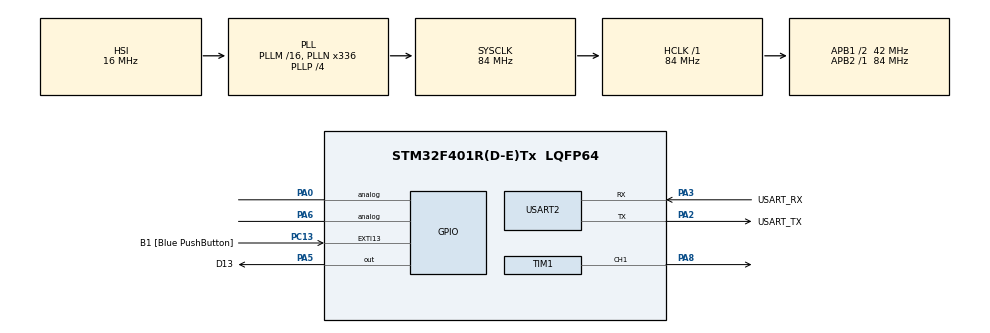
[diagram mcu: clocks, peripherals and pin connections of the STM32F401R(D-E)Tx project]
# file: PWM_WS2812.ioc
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Dma.Request0=TIM1_CH1
Dma.TIM1_CH1.0.Direction=DMA_MEMORY_TO_PERIPH
Dma.TIM1_CH1.0.FIFOMode=DMA_FIFOMODE_DISABLE
Dma.TIM1_CH1.0.Instance=DMA2_Stream1
Dma.TIM1_CH1.0.MemDataAlignment=DMA_MDATAALIGN_HALFWORD
Dma.TIM1_CH1.0.MemInc=DMA_MINC_ENABLE
Dma.TIM1_CH1.0.Mode=DMA_NORMAL
Dma.TIM1_CH1.0.PeriphDataAlignment=DMA_PDATAALIGN_HALFWORD
Dma.TIM1_CH1.0.PeriphInc=DMA_PINC_DISABLE
Dma.TIM1_CH1.0.Priority=DMA_PRIORITY_LOW
Mcu.Family=STM32F4
Mcu.Name=STM32F401R(D-E)Tx
Mcu.Package=LQFP64
NVIC.DMA2_Stream1_IRQn=true\:0\:0\:false\:false\:true\:false\:true\:true
NVIC.PriorityGroup=NVIC_PRIORITYGROUP_0
NVIC.TIM1_TRG_COM_TIM11_IRQn=true\:0\:0\:false\:false\:true\:false\:true\:true
NVIC.TimeBase=TIM1_TRG_COM_TIM11_IRQn
NVIC.TimeBaseIP=TIM11
PA0-WKUP.Signal=GPIO_Analog
PA13.GPIO_Label=TMS
PA13.Mode=Serial_Wire
PA13.Signal=SYS_JTMS-SWDIO
PA14.GPIO_Label=TCK
PA14.Mode=Serial_Wire
PA14.Signal=SYS_JTCK-SWCLK
PA2.GPIO_Label=USART_TX
PA2.GPIO_Mode=GPIO_MODE_AF_PP
PA2.GPIO_PuPd=GPIO_NOPULL
PA2.GPIO_Speed=GPIO_SPEED_FREQ_LOW
PA2.Mode=Asynchronous
PA2.Signal=USART2_TX
PA3.GPIO_Label=USART_RX
PA3.GPIO_Mode=GPIO_MODE_AF_PP
PA3.GPIO_PuPd=GPIO_NOPULL
PA3.GPIO_Speed=GPIO_SPEED_FREQ_LOW
PA3.Mode=Asynchronous
PA3.Signal=USART2_RX
PA5.GPIO_Label=D13
PA5.Signal=GPIO_Output
PA6.Signal=GPIO_Analog
PA8.Signal=S_TIM1_CH1
PB3.GPIO_Label=SWO
PB3.Signal=SYS_JTDO-SWO
PC13-ANTI_TAMP.GPIO_Label=B1 [Blue PushButton]
PC13-ANTI_TAMP.GPIO_ModeDefaultEXTI=GPIO_MODE_IT_FALLING
PC13-ANTI_TAMP.GPIO_PuPd=GPIO_NOPULL
PC13-ANTI_TAMP.Signal=GPXTI13
PC14-OSC32_IN.Mode=LSE-External-Oscillator
PC14-OSC32_IN.Signal=RCC_OSC32_IN
PC15-OSC32_OUT.Mode=LSE-External-Oscillator
PC15-OSC32_OUT.Signal=RCC_OSC32_OUT
PH0\ -\ OSC_IN.Mode=HSE-External-Clock-Source
PH0\ -\ OSC_IN.Signal=RCC_OSC_IN
PH1\ -\ OSC_OUT.Mode=HSE-External-Clock-Source
PH1\ -\ OSC_OUT.Signal=RCC_OSC_OUT
ProjectManager.HeapSize=0x200
ProjectManager.StackSize=0x400
ProjectManager.TargetToolchain=STM32CubeIDE
RCC.48MHZClocksFreq_Value=48000000
RCC.AHBFreq_Value=84000000
RCC.APB1CLKDivider=RCC_HCLK_DIV2
RCC.APB1Freq_Value=42000000
RCC.APB1TimFreq_Value=84000000
RCC.APB2Freq_Value=84000000
RCC.APB2TimFreq_Value=84000000
RCC.CortexFreq_Value=84000000
RCC.HCLKFreq_Value=84000000
RCC.HSE_VALUE=8000000
RCC.HSI_VALUE=16000000
RCC.PLLN=336
RCC.PLLP=RCC_PLLP_DIV4
RCC.PLLQ=7
RCC.SYSCLKFreq_VALUE=84000000
RCC.SYSCLKSource=RCC_SYSCLKSOURCE_PLLCLK
RCC.VCOOutputFreq_Value=336000000
SH.S_TIM1_CH1.0=TIM1_CH1,PWM Generation1 CH1
TIM1.Channel-PWM\ Generation1\ CH1=TIM_CHANNEL_1
TIM1.OC1Preload_PWM=ENABLE
TIM1.OCFastMode_PWM-PWM\ Generation1\ CH1=TIM_OCFAST_DISABLE
TIM1.OCPolarity_1=TIM_OCPOLARITY_HIGH
TIM1.Period=105-1
TIM1.Pulse-PWM\ Generation1\ CH1=0
USART2.VirtualMode=VM_ASYNC
VP_SYS_VS_tim11.Mode=TIM11
VP_TIM1_VS_ClockSourceINT.Mode=Internal
board=NUCLEO-F401RE

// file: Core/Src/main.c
/* USER CODE BEGIN Header */
/**
  ******************************************************************************
  * @file           : main.c
  * @brief          : Main program body
  ******************************************************************************
  * @attention
  *
  * Copyright (c) 2023 STMicroelectronics.
  * All rights reserved.
  *
  * This software is licensed under terms that can be found in the LICENSE file
  * in the root directory of this software component.
  * If no LICENSE file comes with this software, it is provided AS-IS.
  *
  ******************************************************************************
  */
/* USER CODE END Header */
#include "main.h"

/* USER CODE BEGIN PD */
#define ZERO (104 - 76) // This gives a HIGH signal of 350ns (and stays 900ns LOW)
#define ONE 76                 // This gives a HIGH signal of 950ns (and stays 300ns LOW)
#define BREAK 0                // This stays 1250ns LOW

#define CANT_LEDS 8
/* USER CODE END PD */

TIM_HandleTypeDef htim1;
DMA_HandleTypeDef hdma_tim1_ch1;

UART_HandleTypeDef huart2;

void SystemClock_Config(void);
static void MX_GPIO_Init(void);
static void MX_DMA_Init(void);
static void MX_USART2_UART_Init(void);
static void MX_TIM1_Init(void);

/* USER CODE BEGIN 0 */
uint8_t datasent = 0;
uint16_t fData[CANT_LEDS * 24 + 60] = {0};

void HAL_TIM_PWM_PulseFinishedCallback(TIM_HandleTypeDef *htim)
{
	HAL_TIM_PWM_Stop_DMA(htim, TIM_CHANNEL_1);
	HAL_GPIO_WritePin(D13_GPIO_Port, D13_Pin, 0);
	datasent = 1;
}
void pwmDataInit(uint16_t * pwmData)
{
	for(int i = 0; i < (CANT_LEDS * 24 + 60); i++)
	{
		if(i < 60)
			pwmData[i] = BREAK;
		else
			pwmData[i] = ZERO;
	}
}
void pwmDataSetColor(uint16_t * pwmData, uint8_t led, uint32_t color)
{
	int index = 60 + led * 24;

	for(int i = 0; i < 24; i++)
	{
		if(color & i)
			pwmData[index + i] = ONE;
		else
			pwmData[index + i] = ZERO;
	}
}
/* USER CODE END 0 */

int main(void)
{

  /* MCU Configuration--------------------------------------------------------*/

  /* Reset of all peripherals, Initializes the Flash interface and the Systick. */
  HAL_Init();

  /* Configure the system clock */
  SystemClock_Config();

  /* Initialize all configured peripherals */
  MX_GPIO_Init();
  MX_DMA_Init();
  MX_USART2_UART_Init();
  MX_TIM1_Init();
  /* USER CODE BEGIN 2 */
  pwmDataInit(fData);
  pwmDataSetColor(fData, 0, 0xAAAAAA);
  pwmDataSetColor(fData, 7, 0xAAAAAA);

  /* USER CODE END 2 */

  /* Infinite loop */
  while (1)
  {

    /* USER CODE BEGIN 3 */
	  datasent = 0;
	  //htim1.Instance->RCR = 500;
	  HAL_GPIO_WritePin(D13_GPIO_Port, D13_Pin, 1);
	  HAL_TIM_PWM_Start_DMA(&htim1, TIM_CHANNEL_1, (uint32_t *)fData, sizeof(fData) / sizeof(uint16_t));
	  while(datasent == 0){}

	  HAL_Delay(1000);

  }
  /* USER CODE END 3 */
}

void SystemClock_Config(void)
{
  RCC_OscInitTypeDef RCC_OscInitStruct = {0};
  RCC_ClkInitTypeDef RCC_ClkInitStruct = {0};

  /** Configure the main internal regulator output voltage
  */
  __HAL_RCC_PWR_CLK_ENABLE();
  __HAL_PWR_VOLTAGESCALING_CONFIG(PWR_REGULATOR_VOLTAGE_SCALE2);

  /** Initializes the RCC Oscillators according to the specified parameters
  * in the RCC_OscInitTypeDef structure.
  */
  RCC_OscInitStruct.OscillatorType = RCC_OSCILLATORTYPE_HSI;
  RCC_OscInitStruct.HSIState = RCC_HSI_ON;
  RCC_OscInitStruct.HSICalibrationValue = RCC_HSICALIBRATION_DEFAULT;
  RCC_OscInitStruct.PLL.PLLState = RCC_PLL_ON;
  RCC_OscInitStruct.PLL.PLLSource = RCC_PLLSOURCE_HSI;
  RCC_OscInitStruct.PLL.PLLM = 16;
  RCC_OscInitStruct.PLL.PLLN = 336;
  RCC_OscInitStruct.PLL.PLLP = RCC_PLLP_DIV4;
  RCC_OscInitStruct.PLL.PLLQ = 7;
  if (HAL_RCC_OscConfig(&RCC_OscInitStruct) != HAL_OK)
  {
    Error_Handler();
  }

  /** Initializes the CPU, AHB and APB buses clocks
  */
  RCC_ClkInitStruct.ClockType = RCC_CLOCKTYPE_HCLK|RCC_CLOCKTYPE_SYSCLK
                              |RCC_CLOCKTYPE_PCLK1|RCC_CLOCKTYPE_PCLK2;
  RCC_ClkInitStruct.SYSCLKSource = RCC_SYSCLKSOURCE_PLLCLK;
  RCC_ClkInitStruct.AHBCLKDivider = RCC_SYSCLK_DIV1;
  RCC_ClkInitStruct.APB1CLKDivider = RCC_HCLK_DIV2;
  RCC_ClkInitStruct.APB2CLKDivider = RCC_HCLK_DIV1;

  if (HAL_RCC_ClockConfig(&RCC_ClkInitStruct, FLASH_LATENCY_2) != HAL_OK)
  {
    Error_Handler();
  }
}

static void MX_TIM1_Init(void)
{

  TIM_ClockConfigTypeDef sClockSourceConfig = {0};
  TIM_MasterConfigTypeDef sMasterConfig = {0};
  TIM_OC_InitTypeDef sConfigOC = {0};
  TIM_BreakDeadTimeConfigTypeDef sBreakDeadTimeConfig = {0};

  htim1.Instance = TIM1;
  htim1.Init.Prescaler = 0;
  htim1.Init.CounterMode = TIM_COUNTERMODE_UP;
  htim1.Init.Period = 105-1;
  htim1.Init.ClockDivision = TIM_CLOCKDIVISION_DIV1;
  htim1.Init.RepetitionCounter = 0;
  htim1.Init.AutoReloadPreload = TIM_AUTORELOAD_PRELOAD_DISABLE;
  if (HAL_TIM_Base_Init(&htim1) != HAL_OK)
  {
    Error_Handler();
  }
  sClockSourceConfig.ClockSource = TIM_CLOCKSOURCE_INTERNAL;
  if (HAL_TIM_ConfigClockSource(&htim1, &sClockSourceConfig) != HAL_OK)
  {
    Error_Handler();
  }
  if (HAL_TIM_PWM_Init(&htim1) != HAL_OK)
  {
    Error_Handler();
  }
  sMasterConfig.MasterOutputTrigger = TIM_TRGO_RESET;
  sMasterConfig.MasterSlaveMode = TIM_MASTERSLAVEMODE_DISABLE;
  if (HAL_TIMEx_MasterConfigSynchronization(&htim1, &sMasterConfig) != HAL_OK)
  {
    Error_Handler();
  }
  sConfigOC.OCMode = TIM_OCMODE_PWM1;
  sConfigOC.Pulse = 0;
  sConfigOC.OCPolarity = TIM_OCPOLARITY_HIGH;
  sConfigOC.OCNPolarity = TIM_OCNPOLARITY_HIGH;
  sConfigOC.OCFastMode = TIM_OCFAST_DISABLE;
  sConfigOC.OCIdleState = TIM_OCIDLESTATE_RESET;
  sConfigOC.OCNIdleState = TIM_OCNIDLESTATE_RESET;
  if (HAL_TIM_PWM_ConfigChannel(&htim1, &sConfigOC, TIM_CHANNEL_1) != HAL_OK)
  {
    Error_Handler();
  }
  sBreakDeadTimeConfig.OffStateRunMode = TIM_OSSR_DISABLE;
  sBreakDeadTimeConfig.OffStateIDLEMode = TIM_OSSI_DISABLE;
  sBreakDeadTimeConfig.LockLevel = TIM_LOCKLEVEL_OFF;
  sBreakDeadTimeConfig.DeadTime = 0;
  sBreakDeadTimeConfig.BreakState = TIM_BREAK_DISABLE;
  sBreakDeadTimeConfig.BreakPolarity = TIM_BREAKPOLARITY_HIGH;
  sBreakDeadTimeConfig.AutomaticOutput = TIM_AUTOMATICOUTPUT_DISABLE;
  if (HAL_TIMEx_ConfigBreakDeadTime(&htim1, &sBreakDeadTimeConfig) != HAL_OK)
  {
    Error_Handler();
  }
  HAL_TIM_MspPostInit(&htim1);

}

static void MX_USART2_UART_Init(void)
{

  huart2.Instance = USART2;
  huart2.Init.BaudRate = 115200;
  huart2.Init.WordLength = UART_WORDLENGTH_8B;
  huart2.Init.StopBits = UART_STOPBITS_1;
  huart2.Init.Parity = UART_PARITY_NONE;
  huart2.Init.Mode = UART_MODE_TX_RX;
  huart2.Init.HwFlowCtl = UART_HWCONTROL_NONE;
  huart2.Init.OverSampling = UART_OVERSAMPLING_16;
  if (HAL_UART_Init(&huart2) != HAL_OK)
  {
    Error_Handler();
  }

}

static void MX_DMA_Init(void)
{

  /* DMA controller clock enable */
  __HAL_RCC_DMA2_CLK_ENABLE();

  /* DMA interrupt init */
  /* DMA2_Stream1_IRQn interrupt configuration */
  HAL_NVIC_SetPriority(DMA2_Stream1_IRQn, 0, 0);
  HAL_NVIC_EnableIRQ(DMA2_Stream1_IRQn);

}

static void MX_GPIO_Init(void)
{
  GPIO_InitTypeDef GPIO_InitStruct = {0};

  /* GPIO Ports Clock Enable */
  __HAL_RCC_GPIOC_CLK_ENABLE();
  __HAL_RCC_GPIOH_CLK_ENABLE();
  __HAL_RCC_GPIOA_CLK_ENABLE();
  __HAL_RCC_GPIOB_CLK_ENABLE();

  /*Configure GPIO pin Output Level */
  HAL_GPIO_WritePin(D13_GPIO_Port, D13_Pin, GPIO_PIN_RESET);

  /*Configure GPIO pin : B1_Pin */
  GPIO_InitStruct.Pin = B1_Pin;
  GPIO_InitStruct.Mode = GPIO_MODE_IT_FALLING;
  GPIO_InitStruct.Pull = GPIO_NOPULL;
  HAL_GPIO_Init(B1_GPIO_Port, &GPIO_InitStruct);

  /*Configure GPIO pins : PA0 PA6 */
  GPIO_InitStruct.Pin = GPIO_PIN_0|GPIO_PIN_6;
  GPIO_InitStruct.Mode = GPIO_MODE_ANALOG;
  GPIO_InitStruct.Pull = GPIO_NOPULL;
  HAL_GPIO_Init(GPIOA, &GPIO_InitStruct);

  /*Configure GPIO pin : D13_Pin */
  GPIO_InitStruct.Pin = D13_Pin;
  GPIO_InitStruct.Mode = GPIO_MODE_OUTPUT_PP;
  GPIO_InitStruct.Pull = GPIO_NOPULL;
  GPIO_InitStruct.Speed = GPIO_SPEED_FREQ_LOW;
  HAL_GPIO_Init(D13_GPIO_Port, &GPIO_InitStruct);

}

void HAL_TIM_PeriodElapsedCallback(TIM_HandleTypeDef *htim)
{
  if (htim->Instance == TIM11) {
    HAL_IncTick();
  }
}

void Error_Handler(void)
{
  __disable_irq();
  while (1)
  {
  }
}
